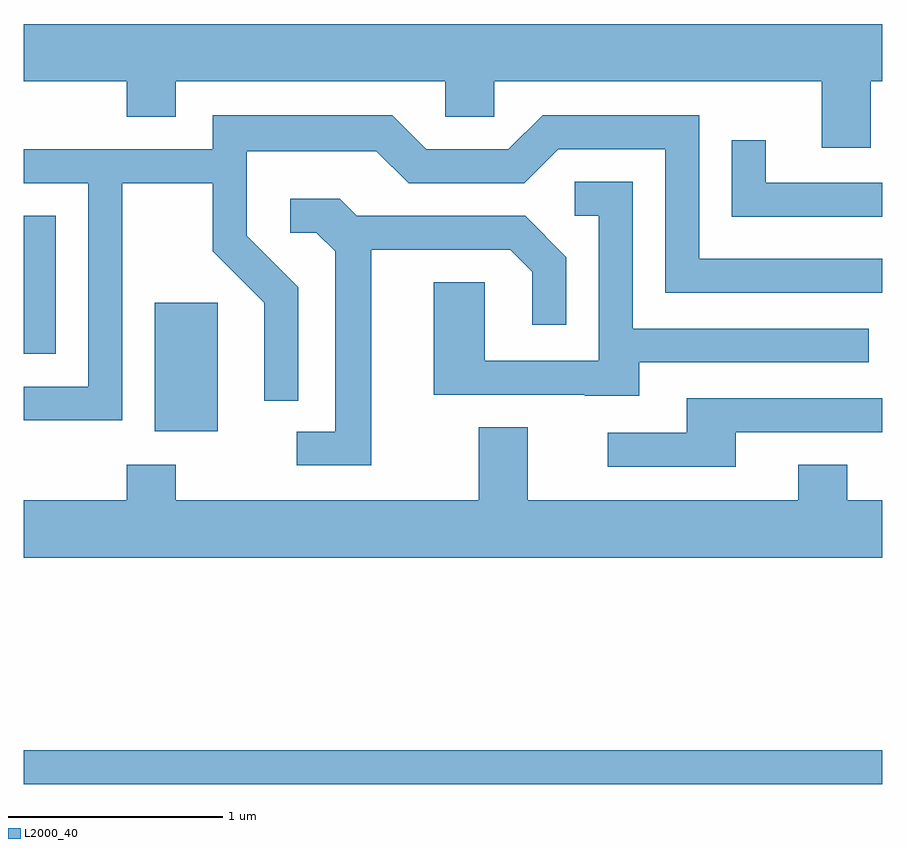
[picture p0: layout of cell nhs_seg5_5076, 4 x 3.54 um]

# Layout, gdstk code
import gdstk
lib = gdstk.Library(unit=1e-6, precision=1e-09)
def R(c, l, rs):  # rectangles x0, y0, x1, y1
    for r in rs: c.add(gdstk.rectangle(r[:2], r[2:], *l))
def P(c, l, *ps):  # polygons
    for p in ps: c.add(gdstk.Polygon(p, *l))
L2000_40 = (2000, 40)

nhs_seg5_5076 = lib.new_cell('nhs_seg5_5076')
R(nhs_seg5_5076, L2000_40, [(335.611,1462.401,339.611,1462.559), (336.221,1464.046,336.514,1464.644), (335.611,1464.406,335.759,1465.049)])
P(nhs_seg5_5076, L2000_40, [(339.559,1465.676),(339.611,1465.676),(339.611,1465.944),(335.611,1465.944),(335.611,1465.676),(336.091,1465.676),(336.091,1465.511),(336.319,1465.511),(336.319,1465.676),(337.576,1465.676),(337.576,1465.511),(337.804,1465.511),(337.804,1465.676),(339.331,1465.676),(339.331,1465.366),(339.559,1465.366)],
  [(336.069,1465.201),(336.491,1465.201),(336.491,1464.884),(336.731,1464.644),(336.731,1464.188),(336.889,1464.188),(336.889,1464.717),(336.649,1464.957),(336.649,1465.351),(337.254,1465.351),(337.404,1465.201),(337.942,1465.201),(338.102,1465.361),(338.601,1465.361),(338.601,1464.691),(339.611,1464.691),(339.611,1464.849),(338.759,1464.849),(338.759,1465.519),(338.029,1465.519),(337.869,1465.359),(337.487,1465.359),(337.327,1465.519),(336.491,1465.519),(336.491,1465.359),(335.611,1465.359),(335.611,1465.201),(335.911,1465.201),(335.911,1464.254),(335.611,1464.254),(335.611,1464.096),(336.069,1464.096)],
  [(339.611,1465.204),(339.069,1465.204),(339.069,1465.403),(338.911,1465.403),(338.911,1465.046),(339.611,1465.046)],
  [(338.479,1464.366),(339.548,1464.366),(339.548,1464.524),(338.449,1464.524),(338.449,1465.209),(338.178,1465.209),(338.178,1465.051),(338.291,1465.051),(338.291,1464.374),(337.759,1464.374),(337.759,1464.739),(337.521,1464.739),(337.521,1464.216),(338.225,1464.216),(338.225,1464.211),(338.479,1464.211)],
  [(337.229,1464.891),(337.879,1464.891),(337.981,1464.789),(337.981,1464.543),(338.139,1464.543),(338.139,1464.857),(337.947,1465.049),(337.162,1465.049),(337.082,1465.129),(336.853,1465.129),(336.853,1464.971),(336.974,1464.971),(337.061,1464.884),(337.061,1464.044),(336.883,1464.044),(336.883,1463.886),(337.229,1463.886)],
  [(338.929,1464.041),(339.611,1464.041),(339.611,1464.199),(338.701,1464.199),(338.701,1464.039),(338.333,1464.039),(338.333,1463.881),(338.929,1463.881)],
  [(339.611,1463.724),(339.449,1463.724),(339.449,1463.889),(339.221,1463.889),(339.221,1463.724),(337.959,1463.724),(337.959,1464.064),(337.731,1464.064),(337.731,1463.724),(336.319,1463.724),(336.319,1463.889),(336.091,1463.889),(336.091,1463.724),(335.611,1463.724),(335.611,1463.456),(339.611,1463.456)])

lib.write_gds('nhs_seg5_5076.gds')
